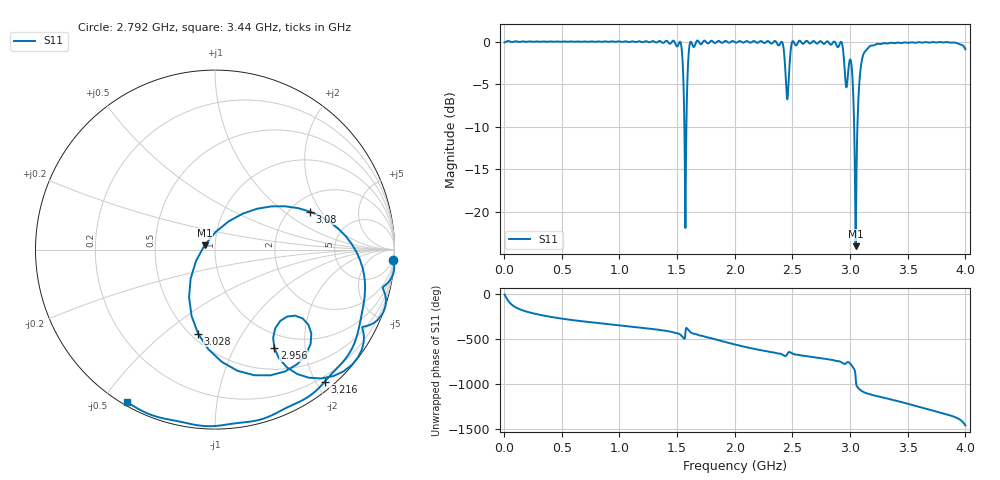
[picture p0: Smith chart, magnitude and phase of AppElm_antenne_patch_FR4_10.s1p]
! TOUCHSTONE file generated by CST MICROWAVE STUDIO
! Date and time: Tue Jun  7 21:11:38 2022
! Project name: AppElm_antenne_patch_FR4.cst
! Parameters = {L=45; W=58.5; e=0.035; h=1.6; lambda=0.190476; ls=120; w0=1.6; w1=0.533333; ws=144; y0=20; y1=23.81}
! Header version: 2018
! Port assignment regex: !\s*Touchstone port\s*([0-9]+)\s*=\s*(CST MWS port|CST DS port)\s*([0-9]+|Zmin|Zmax)\s*\(\"(.*)\"\)(\s*mode\s*([0-9]+))?.*
! Touchstone port assignment:
! Touchstone port 1 = CST MWS port 1 ("")
# GHz S MA R 50
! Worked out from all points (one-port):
!   1000 points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, 4 MHz to 4 GHz, reference 50 ohm
!   lowest |S11| = -24.0 dB at 3.048 GHz (marker M1), VSWR 1.13, Z = 44.5 + j2.15 ohm
!   |S11| at or under -10 dB: 1.563 GHz to 1.58 GHz (17.28 MHz wide, 1.1 % of centre); 3.035 GHz to 3.063 GHz (28.19 MHz wide, 0.924 % of centre)
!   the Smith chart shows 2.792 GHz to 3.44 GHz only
!   S11 on the Smith chart (normalised r, x): 2.792 GHz: 3, -34; 2.956 GHz: 0.79, -1.46; 3.028 GHz: 0.54, -0.66; 3.08 GHz: 2.54, +1.59; 3.216 GHz: 0.12, -2.12; 3.44 GHz: 0.01, -0.58
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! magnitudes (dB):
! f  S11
! 4 MHz  -0.1
! 504 MHz  0.0
! 1.004 GHz  0.0
! 1.504 GHz  -0.5
! 1.536 GHz  -0.5
! 1.556 GHz  -5.3
! 1.572 GHz  -21.9
! 1.588 GHz  -5.0
! 1.604 GHz  -0.8
! 1.62 GHz  0.0
! 2.004 GHz  -0.1
! 2.404 GHz  0.0
! 2.456 GHz  -6.8
! 2.504 GHz  0.1
! 2.792 GHz  -0.1
! 2.92 GHz  0.0
! 2.956 GHz  -3.9
! 3.004 GHz  -2.1
! 3.016 GHz  -3.3
! 3.028 GHz  -6.4
! 3.048 GHz  -24.0
! 3.064 GHz  -9.7
! 3.08 GHz  -4.9
! 3.116 GHz  -1.5
! 3.216 GHz  -0.4
! 3.44 GHz  -0.2
! 3.504 GHz  -0.2
! 4 GHz  -0.9
